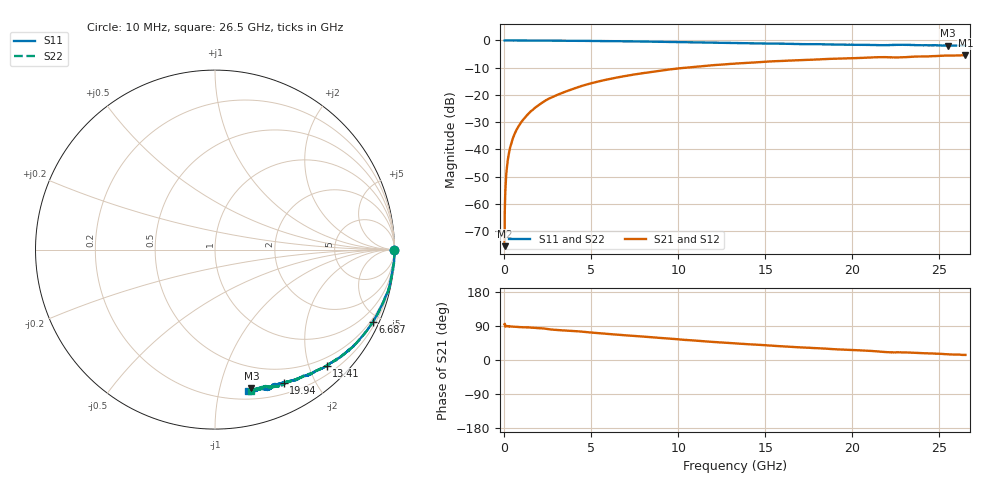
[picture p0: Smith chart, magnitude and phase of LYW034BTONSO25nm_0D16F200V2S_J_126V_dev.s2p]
!Keysight Technologies,N5222B,MY61253708,A.15.00.15
!Date: Wednesday, June 19, 2024 09:53:52
!Correction: S11(C  2-Port  )
!S21(C  2-Port  )
!S12(C  2-Port  )
!S22(C  2-Port  )
!S2P File: Measurements: S11, S21, S12, S22:
# Hz S  RI  R 50
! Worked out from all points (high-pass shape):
!   2651 points, 10 MHz to 26.5 GHz, reference 50 ohm
!   highest |S21| = -5.39 dB at 26.5 GHz (marker M1); lowest = -75.5 dB at 10 MHz (marker M2)
!   |S21| within 3 dB of the highest: 13.52 GHz to end of sweep
!   lowest |S11| = -1.9 dB at 25.5 GHz (marker M3), VSWR 8.96, Z = 14.6 - j62.7 ohm
!   |S11| at or under -10 dB: nowhere
!   |S22| runs from -1.9 to 0.0 dB; largest |S21 - S12| = 0.0062
!   S11 on the Smith chart (normalised r, x): 10 MHz: open; 6.687 GHz: 0.37, -4.58; 13.41 GHz: 0.35, -2.30; 19.94 GHz: 0.32, -1.59; 26.5 GHz: 0.27, -1.22
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1e7  0.9986 -0.0028  -1.47e-05 0.000167  -3.11e-05 0.000526  0.9986 -0.00113
7.997358e7  0.9999 -0.00575  -2.13e-05 0.00262  1.23e-05 0.00264  0.9994 -0.0052
1.499472e8  0.9999 -0.0108  6.28e-05 0.00496  5.64e-05 0.00498  0.9996 -0.0101
1.899321e8  1 -0.0128  9.18e-05 0.00627  8.17e-05 0.0063  0.9998 -0.0119
2.399132e8  0.9996 -0.0166  0.00013 0.00791  0.000144 0.00796  0.9994 -0.0156
3.398755e8  0.9995 -0.023  0.000272 0.0112  0.000255 0.0113  0.9996 -0.0219
4.598302e8  0.999 -0.0312  0.000458 0.0151  0.000427 0.0152  0.9986 -0.0303
7.897057e8  0.9983 -0.0527  0.00132 0.0259  0.00131 0.026  0.9977 -0.0516
1.079596e9  0.9973 -0.0729  0.00219 0.0352  0.00226 0.0354  0.9963 -0.0705
1.419468e9  0.9908 -0.0958  0.00322 0.0465  0.0033 0.0466  0.9935 -0.0918
2.269147e9  0.9832 -0.1477  0.0091 0.075  0.00928 0.0755  0.9847 -0.147
3.128823e9  0.972 -0.202  0.0199 0.101  0.0202 0.1016  0.9728 -0.1996
4.428332e9  0.943 -0.2799  0.038 0.1408  0.0384 0.1417  0.9452 -0.2758
6.687479e9  0.88 -0.4012  0.0871 0.1966  0.0883 0.1974  0.883 -0.3988
8.846664e9  0.8042 -0.5015  0.1438 0.2361  0.1453 0.2366  0.8073 -0.4979
1.3255e10  0.6284 -0.6419  0.2707 0.2609  0.2729 0.2605  0.6351 -0.6387
1.341494e10  0.6215 -0.646  0.2755 0.2603  0.2775 0.2599  0.627 -0.6432
1.767333e10  0.4567 -0.7217  0.3771 0.2338  0.3803 0.232  0.4707 -0.7181
1.994248e10  0.3824 -0.7434  0.4213 0.2094  0.4235 0.2071  0.4004 -0.7391
2.209166e10  0.3212 -0.7549  0.46 0.1723  0.4617 0.1691  0.3193 -0.7609
2.550038e10  0.2024 -0.773  0.5095 0.1361  0.5108 0.1351  0.2265 -0.7764
2.65e10  0.1827 -0.7868  0.523 0.1246  0.5224 0.1204  0.2001 -0.786
